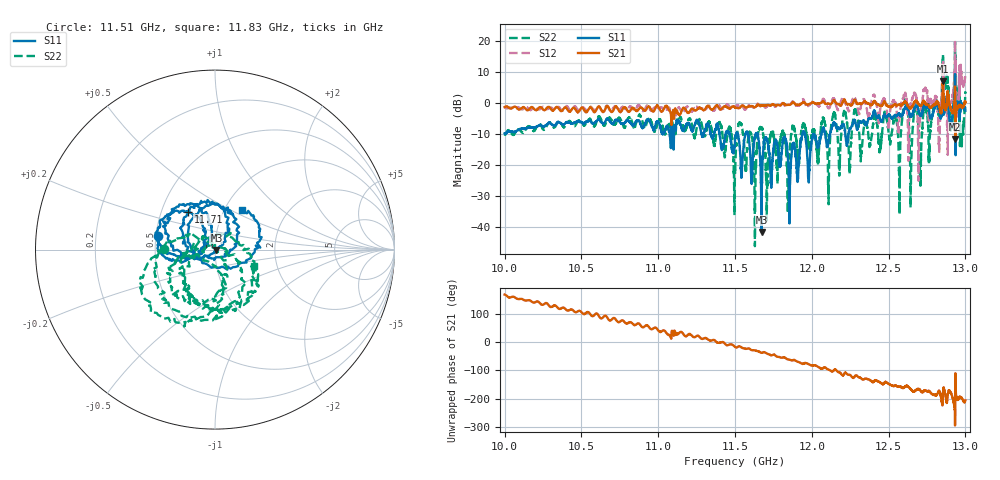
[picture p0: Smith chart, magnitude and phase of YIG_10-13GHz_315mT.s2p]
#  HZ  S  RI  R  50.0
! Rohde & Schwarz ZVL13 2Ports - Version 3.31 - 1303.6509k13 SN: 101088
! Date: 2023-03-06 15:54:15
! Data & Calibration Information:
! Trc4:S11(TOSM) Trc2:S21(TOSM) Trc3:S12(TOSM) Trc5:S22(TOSM)
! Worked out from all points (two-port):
!   4000 points, 10 GHz to 13 GHz, reference 50 ohm
!   highest |S21| = 6.88 dB at 12.85 GHz (marker M1); lowest = -11.6 dB at 12.93 GHz (marker M2)
!   |S21| within 3 dB of the highest: 12.85153 GHz to 12.85576 GHz (4.226 MHz wide, 0.0329 % of centre); 12.9317 GHz to 12.93311 GHz (1.415 MHz wide, 0.0109 % of centre)
!   lowest |S11| = -41.4 dB at 11.67 GHz (marker M3), VSWR 1.02, Z = 50.8 - j0.245 ohm
!   |S11| at or under -10 dB: 11.58513 GHz to 11.63523 GHz (50.09 MHz wide, 0.431 % of centre); 11.65 GHz to 11.94 GHz (291.6 MHz wide, 2.47 % of centre); 11.95498 GHz to 12.01194 GHz (56.96 MHz wide, 0.475 % of centre)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
!   |S22| runs from -46.0 to 19.6 dB; largest |S21 - S12| = 8.4
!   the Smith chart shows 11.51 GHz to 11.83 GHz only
!   S11 on the Smith chart (normalised r, x): 11.51 GHz: 0.51, +0.09; 11.71 GHz: 0.68, +0.31; 11.83 GHz: 1.20, +0.57
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1e10  0.3141 0.0808  -0.8339 0.1938  -0.8152 0.2342  0.2324 0.1857
1.050038e10  0.3463 -0.3424  -0.2123 0.8097  -0.2786 0.765  0.5019 -0.1251
1.1e10  -0.1591 -0.4677  0.6631 0.5735  0.5732 0.5876  -0.0241 -0.5078
1.150038e10  -0.2264 0.1619  0.8 -0.2625  0.8182 -0.257  -0.0661 0.0279
1.151163e10  -0.3166 0.0764  0.7837 -0.2771  0.8602 -0.2986  -0.2825 0.00584
1.167292e10  0.00811 -0.00241  0.7057 -0.5642  0.7466 -0.5159  -0.1059 -0.3884
1.170668e10  -0.1505 0.2117  0.6924 -0.6056  0.6137 -0.6255  -0.000193 0.016
1.182821e10  0.1483 0.2187  0.5138 -0.7821  0.5204 -0.7202  0.2154 -0.0927
1.2e10  0.0626 -0.2342  0.1074 -0.9923  0.0469 -1.015  0.0717 -0.3047
1.250038e10  -0.5126 -0.4053  -0.7483 -0.4693  -0.3709 -0.169  0.1259 -0.3044
1.274419e10  -0.8245 0.1003  -0.9364 -0.1265  -1.182 -1.081  -0.2984 -0.6383
1.278845e10  -0.5868 0.3315  -0.8977 0.0937  -0.9451 -0.0663  -0.5686 -0.4253
1.282596e10  -0.776 0.174  -0.9113 -0.0615  -0.1507 -0.2661  0.631 -0.0258
1.283871e10  -0.5128 0.2267  -0.6863 0.0672  -0.4861 0.5026  0.1063 0.7247
1.285446e10  -1.417 0.1844  -2.19 0.2871  -4.107 -2.038  -6.066 -0.4843
1.287022e10  -0.8523 0.6114  -0.8474 0.1246  -0.7157 -0.6734  -0.6008 -1.558
1.289047e10  -0.7991 -0.0395  -1.216 -0.125  -0.4516 0.5974  1.076 0.1969
1.291823e10  -0.3106 0.6281  -0.6747 0.2386  -1.169 0.7131  0.042 0.6088
1.293398e10  0.0208 1.211  -0.1475 0.2165  1.97 2.108  3.064 -1.11
1.294899e10  -0.507 0.8737  -0.7806 0.3277  0.3047 -0.8064  -0.2327 -1.067
1.297224e10  -0.5493 0.7667  -0.8533 0.2625  -2.688 0.8455  -0.3363 -0.2363
1.3e10  -0.4282 0.6163  -0.9135 0.4497  -2.48 -1.036  -1.395 0.0543
